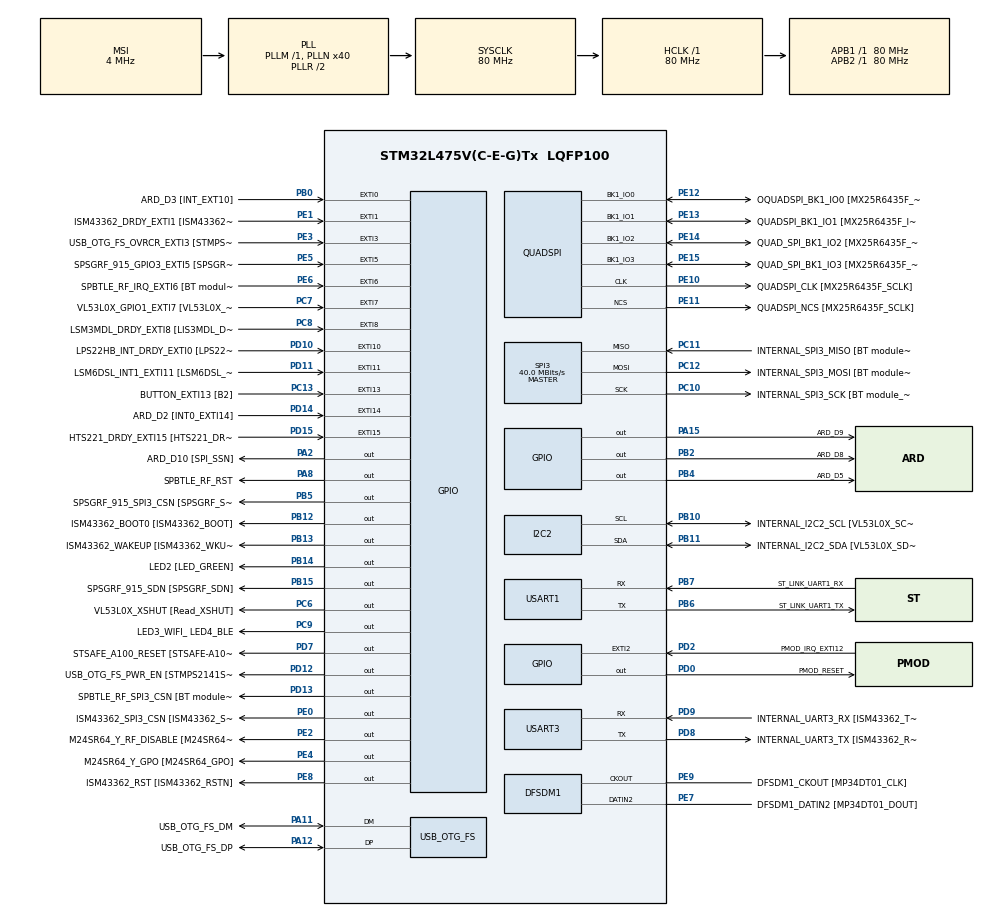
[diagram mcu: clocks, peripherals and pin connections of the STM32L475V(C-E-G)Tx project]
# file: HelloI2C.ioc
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PD12.GPIO_Label=USB_OTG_FS_PWR_EN [STMPS2141STR_EN]
SPI3.Direction=SPI_DIRECTION_2LINES
SPI3.VirtualType=VM_MASTER
QUADSPI.ClockPrescaler=2
PB10.Mode=I2C
PC12.Signal=SPI3_MOSI
PB14.GPIO_Label=LED2 [LED_GREEN]
PC6.GPIO_Label=VL53L0X_XSHUT [Read_XSHUT]
PA6.GPIO_Label=ARD_D12 [SPI1_MISO]
PB6.GPIO_Label=ST_LINK_UART1_TX
PA15\ (JTDI).Signal=GPIO_Output
PC15-OSC32_OUT\ (PC15).Mode=LSE-External-Oscillator
PB13.Signal=GPIO_Output
PD6.GPIO_Label=PMOD_UART2_RX
PE6.GPIO_Label=SPBTLE_RF_IRQ_EXTI6 [BT module_SPI_IRQ]
RCC.SYSCLKSource=RCC_SYSCLKSOURCE_PLLCLK
PC14-OSC32_IN\ (PC14).Mode=LSE-External-Oscillator
SH.ADCx_IN16.0=ADC1_IN16
USART3.VirtualMode-Asynchronous=VM_ASYNC
PA14\ (JTCK-SWCLK).Signal=SYS_JTCK-SWCLK
PD4.Signal=USART2_RTS
RCC.APB2TimFreq_Value=80000000
PB6.Signal=USART1_TX
PC7.Signal=GPXTI7
PB6.Mode=Asynchronous
PC3.Signal=ADCx_IN4
PD0.Signal=GPIO_Output
PD8.Signal=USART3_TX
PE5.Signal=GPXTI5
PE1.Signal=GPXTI1
QUADSPI.FlashSize=23
NVIC.EXTI15_10_IRQn=true\:0\:0\:false\:false\:true\:true\:true
PB2.Signal=GPIO_Output
PD1.GPIO_Label=PMOD_SPI2_SCK
PB12.GPIO_Label=ISM43362_BOOT0 [ISM43362_BOOT]
PC4.GPIO_Label=ARD_A1 [ADC]
PE9.Signal=S_CKOUTDFSDM1
PB1.GPIO_Label=ARD_D6 [ADC1_IN6]
PE4.GPIO_Label=M24SR64_Y_GPO [M24SR64_GPO]
PE2.Signal=GPIO_Output
PA8.Signal=GPIO_Output
PE13.Mode=Single Bank
PE10.Signal=QUADSPI_CLK
PA0.Signal=UART4_TX
Mcu.Package=LQFP100
PB9.Signal=I2C1_SDA
PB1.Signal=ADCx_IN16
SPI3.Mode=SPI_MODE_MASTER
SH.ADCx_IN14.0=ADC1_IN14
PD12.Signal=GPIO_Output
PA10.Signal=USB_OTG_FS_ID
PE12.GPIO_Label=OQUADSPI_BK1_IO0 [MX25R6435F_IO0]
PC11.Mode=Full_Duplex_Master
SH.ADCx_IN9.0=ADC1_IN9
RCC.APB1TimFreq_Value=80000000
PA13\ (JTMS-SWDIO).Signal=SYS_JTMS-SWDIO
PE10.GPIO_Label=QUADSPI_CLK [MX25R6435F_SCLK]
PA4.GPIO_Label=ARD_D7
PD15.Signal=GPXTI15
PE12.Mode=Single Bank
PD9.GPIO_Label=INTERNAL_UART3_RX [ISM43362_TX]
PA9.GPIO_Label=USB_OTG_FS_VBUS [STMPS2141STR_OUT]
PC13.Signal=GPXTI13
PD3.Signal=USART2_CTS
PC6.Signal=GPIO_Output
PE10.Mode=Single Bank
PC2.Signal=ADCx_IN3
PB11.GPIO_Label=INTERNAL_I2C2_SDA [VL53L0X_SDA]
PD7.Signal=GPIO_Output
PD1.Signal=SPI2_SCK
PA11.GPIO_Label=USB_OTG_FS_DM
PC0.Signal=ADCx_IN1
PD10.Signal=GPXTI10
PB8.GPIO_Label=ARD_D15 [I2C1_SCL]
PA8.GPIO_Label=SPBTLE_RF_RST
PB11.Mode=I2C
PE8.GPIO_Label=ISM43362_RST [ISM43362_RSTN]
PA9.Signal=USB_OTG_FS_VBUS
PE9.GPIO_Label=DFSDM1_CKOUT [MP34DT01_CLK]
PD8.Mode=Asynchronous
PB10.Signal=I2C2_SCL
PB14.Signal=GPIO_Output
PA5.Signal=SPI1_SCK
PC12.Mode=Full_Duplex_Master
PE1.GPIO_Label=ISM43362_DRDY_EXTI1 [ISM43362_DATARDY]
PE14.Signal=QUADSPI_BK1_IO2
PE15.Signal=QUADSPI_BK1_IO3
PB15.GPIO_Label=SPSGRF_915_SDN [SPSGRF_SDN]
PE8.Signal=GPIO_Output
PA1.GPIO_Label=ARD_D0 [UART4_RX]
SH.ADCx_IN4.0=ADC1_IN4
QUADSPI.FifoThreshold=4
PC7.GPIO_Label=VL53L0X_GPIO1_EXTI7 [VL53L0X_GPIO1]
PA13\ (JTMS-SWDIO).Mode=Serial_Wire
PA4.Signal=ADCx_IN9
PB5.Signal=GPIO_Output
PE13.GPIO_Label=QUADSPI_BK1_IO1 [MX25R6435F_IO1]
PA5.GPIO_Label=ARD_D13 [SPI1_SCK]
PD11.Signal=GPXTI11
PE5.GPIO_Label=SPSGRF_915_GPIO3_EXTI5 [SPSGRF_GPIO_3]
PC12.GPIO_Label=INTERNAL_SPI3_MOSI [BT module_SPI_MOSI] [ISM43362_MOSI]
PA11.Signal=USB_OTG_FS_DM
ProjectManager.HeapSize=0x200
NVIC.PriorityGroup=NVIC_PRIORITYGROUP_4
PE3.Signal=GPXTI3
PC3.GPIO_Label=ARD_A2 [ADC]
PB4\ (NJTRST).GPIO_Label=ARD_D5
PD2.Signal=GPXTI2
PB0.Signal=GPXTI0
PC1.Signal=ADCx_IN2
PD2.GPIO_Label=PMOD_IRQ_EXTI12
PE15.Mode=Single Bank
Mcu.Family=STM32L4
RCC.CortexFreq_Value=80000000
PE11.GPIO_Label=QUADSPI_NCS [MX25R6435F_SCLK]
SH.ADCx_IN2.0=ADC1_IN2
PC10.Signal=SPI3_SCK
PA0.GPIO_Label=ARD_D1 [UART4_TX]
PC0.GPIO_Label=ARD_A5 [ADC]
PD0.GPIO_Label=PMOD_RESET
PA11.Mode=Device_Only
PB0.GPIO_Label=ARD_D3 [INT_EXT10]
PC13.GPIO_Label=BUTTON_EXTI13 [B2]
PB13.GPIO_Label=ISM43362_WAKEUP [ISM43362_WKUP]
PB11.Signal=I2C2_SDA
PB15.Signal=GPIO_Output
PD9.Mode=Asynchronous
ProjectManager.StackSize=0x400
PB3\ (JTDO-TRACESWO).Signal=SYS_JTDO-SWO
PD13.Signal=GPIO_Output
PA12.Signal=USB_OTG_FS_DP
PE11.Mode=Single Bank
PD11.GPIO_Label=LSM6DSL_INT1_EXTI11 [LSM6DSL_INT1]
RCC.HCLKFreq_Value=80000000
SH.ADCx_IN3.0=ADC1_IN3
PB5.PinState=GPIO_PIN_SET
RCC.AHBFreq_Value=80000000
RCC.HSE_VALUE=8000000
PE13.Signal=QUADSPI_BK1_IO1
PC11.GPIO_Label=INTERNAL_SPI3_MISO [BT module_SPI_MISO] [ISM43362_MISO]
PA10.GPIO_Label=USB_OTG_FS_ID
PB7.Signal=USART1_RX
PE4.Signal=GPIO_Output
QUADSPI.SampleShifting=QSPI_SAMPLE_SHIFTING_HALFCYCLE
PD7.GPIO_Label=STSAFE_A100_RESET [STSAFE-A100_RESET]
PB7.GPIO_Label=ST_LINK_UART1_RX
PD13.GPIO_Label=SPBTLE_RF_SPI3_CSN [BT module_SPI_CS]
PA6.Signal=SPI1_MISO
PD5.GPIO_Label=PMOD_UART2_TX
PA2.GPIO_Label=ARD_D10 [SPI_SSN]
USB_OTG_FS.VirtualMode=Device_Only
PE0.GPIO_Label=ISM43362_SPI3_CSN [ISM43362_SSN]
SH.ADCx_IN1.0=ADC1_IN1
PB5.GPIO_Label=SPSGRF_915_SPI3_CSN [SPSGRF_SPI_CS]
PC5.Signal=ADCx_IN14
PD3.GPIO_Label=PMOD_UART2_CTS
PE7.Signal=S_DATAIN2DFSDM1
PD6.Signal=USART2_RX
PE2.GPIO_Label=M24SR64_Y_RF_DISABLE [M24SR64_RFDIS]
PC2.GPIO_Label=ARD_A3 [ADC]
RCC.PLLSAI1N=24
PA3.Signal=S_TIM2_CH4
RCC.MSI_VALUE=4000000
PA14\ (JTCK-SWCLK).Mode=Serial_Wire
SH.ADCx_IN13.0=ADC1_IN13
PD15.GPIO_Label=HTS221_DRDY_EXTI15 [HTS221_DRDY]
PB9.GPIO_Label=ARD_D14 [I2C1_SDA]
PC10.GPIO_Label=INTERNAL_SPI3_SCK [BT module_SPI_SCLK] [ISM43362_SCK]
PC9.GPIO_Label=LED3_WIFI_ LED4_BLE
PC11.Signal=SPI3_MISO
PC8.Signal=GPXTI8
PC4.Signal=ADCx_IN13
PC10.Mode=Full_Duplex_Master
SH.S_DATAIN2DFSDM1.0=DFSDM1_DATIN2,PDM_SPI_Input_from_ch12_and_Internal_Clock
PE14.GPIO_Label=QUAD_SPI_BK1_IO2 [MX25R6435F_IO2]
PC15-OSC32_OUT\ (PC15).Signal=RCC_OSC32_OUT
PD9.Signal=USART3_RX
PD5.Signal=USART2_TX
PA14\ (JTCK-SWCLK).GPIO_Label=SYS_JTCK_SWCLK
PB3\ (JTDO-TRACESWO).GPIO_Label=SYS_JTD0_SWO
PA12.GPIO_Label=USB_OTG_FS_DP
PD8.GPIO_Label=INTERNAL_UART3_TX [ISM43362_RX]
PC8.GPIO_Label=LSM3MDL_DRDY_EXTI8 [LIS3MDL_DRDY]
USART1.VirtualMode-Asynchronous=VM_ASYNC
PE0.PinState=GPIO_PIN_SET
PE15.GPIO_Label=QUAD_SPI_BK1_IO3 [MX25R6435F_IO3]
ProjectManager.TargetToolchain=STM32CubeIDE
PB10.GPIO_Label=INTERNAL_I2C2_SCL [VL53L0X_SCL]
RCC.USBFreq_Value=48000000
PD10.GPIO_Label=LPS22HB_INT_DRDY_EXTI0 [LPS22HB_INT_DRDY] 
PE11.Signal=QUADSPI_NCS
PA1.Signal=UART4_RX
board=B-L475E-IOT01A1
RCC.VCOOutputFreq_Value=160000000
RCC.APB2Freq_Value=80000000
SPI3.CalculateBaudRate=40.0 MBits/s
PA13\ (JTMS-SWDIO).GPIO_Label=SYS_JTMS_SWDIO
PD4.GPIO_Label=PMOD_UART2_RTS
PE14.Mode=Single Bank
SH.S_CKOUTDFSDM1.0=DFSDM1_CKOUT,CKOUT
SH.S_CKOUTDFSDM1.1=DFSDM1_CKOUT,PDM_SPI_Input_from_ch12_and_Internal_Clock
RCC.ADCFreq_Value=48000000
PC1.GPIO_Label=ARD_A4 [ADC]
PD14.GPIO_Label=ARD_D2 [INT0_EXTI14]
PE6.Signal=GPXTI6
PA15\ (JTDI).GPIO_Label=ARD_D9
Mcu.Name=STM32L475V(C-E-G)Tx
PE0.Signal=GPIO_Output
PE7.GPIO_Label=DFSDM1_DATIN2 [MP34DT01_DOUT]
PE12.Signal=QUADSPI_BK1_IO0
PA2.Signal=GPIO_Output
PD14.Signal=GPXTI14
RCC.SYSCLKFreq_VALUE=80000000
PA7.GPIO_Label=ARD_D11 [SPI1_MOSI]
PA12.Mode=Device_Only
PC13.GPIO_ModeDefaultEXTI=GPIO_MODE_IT_FALLING
PC5.GPIO_Label=ARD_A0 [ADC]
PC14-OSC32_IN\ (PC14).Signal=RCC_OSC32_IN
PB7.Mode=Asynchronous
NVIC.EXTI9_5_IRQn=true\:0\:0\:false\:false\:true\:true\:true
PB2.GPIO_Label=ARD_D8
SH.S_TIM2_CH4.0=TIM2_CH4
RCC.HSI_VALUE=16000000
RCC.PLLN=40
PB8.Signal=I2C1_SCL
PE3.GPIO_Label=USB_OTG_FS_OVRCR_EXTI3 [STMPS2141STR_FAULT]
PC9.Signal=GPIO_Output
PD13.PinState=GPIO_PIN_SET
RCC.APB1Freq_Value=80000000
PB12.Signal=GPIO_Output
PA3.GPIO_Label=ARD_D4
PA7.Signal=SPI1_MOSI
PB4\ (NJTRST).Signal=GPIO_Output

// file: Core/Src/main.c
/* USER CODE BEGIN Header */
/**
  ******************************************************************************
  * @file           : main.c
  * @brief          : Main program body
  ******************************************************************************
  * @attention
  *
  * <h2><center>&copy; Copyright (c) 2021 STMicroelectronics.
  * All rights reserved.</center></h2>
  *
  * This software component is licensed by ST under BSD 3-Clause license,
  * the "License"; You may not use this file except in compliance with the
  * License. You may obtain a copy of the License at:
  *                        opensource.org/licenses/BSD-3-Clause
  *
  ******************************************************************************
  */
/* USER CODE END Header */
#include "main.h"

/* USER CODE BEGIN Includes */
#include "stm32l475e_iot01_hsensor.h"
#include "stm32l475e_iot01_tsensor.h"
#include "stm32l475e_iot01_psensor.h"
/* USER CODE END Includes */

DFSDM_Channel_HandleTypeDef hdfsdm1_channel1;

I2C_HandleTypeDef hi2c2;

QSPI_HandleTypeDef hqspi;

SPI_HandleTypeDef hspi3;

UART_HandleTypeDef huart1;
UART_HandleTypeDef huart3;

PCD_HandleTypeDef hpcd_USB_OTG_FS;

void SystemClock_Config(void);
static void MX_GPIO_Init(void);
static void MX_DFSDM1_Init(void);
static void MX_I2C2_Init(void);
static void MX_QUADSPI_Init(void);
static void MX_SPI3_Init(void);
static void MX_USART1_UART_Init(void);
static void MX_USART3_UART_Init(void);
static void MX_USB_OTG_FS_PCD_Init(void);

int main(void)
{

  /* MCU Configuration--------------------------------------------------------*/

  /* Reset of all peripherals, Initializes the Flash interface and the Systick. */
  HAL_Init();

  /* Configure the system clock */
  SystemClock_Config();

  /* Initialize all configured peripherals */
  MX_GPIO_Init();
  MX_DFSDM1_Init();
  MX_I2C2_Init();
  MX_QUADSPI_Init();
  MX_SPI3_Init();
  MX_USART1_UART_Init();
  MX_USART3_UART_Init();
  MX_USB_OTG_FS_PCD_Init();

  /* Infinite loop */
  /* USER CODE BEGIN WHILE */

  BSP_TSENSOR_Init();
  BSP_HSENSOR_Init();
  BSP_PSENSOR_Init();

  uint8_t LPS22HB_READ = 0xbb;
  uint8_t LPS22HB_WRITE = 0xba;

  char msg[30] = "Reading Pressure Sensor\n";
  HAL_UART_Transmit(&huart1, (uint8_t *) msg, sizeof(msg), HAL_MAX_DELAY);

  while (1)
  {
	  uint8_t STATUS_ADDR = 0x27;
	  uint8_t STATUS_VALUE = 0;

	  HAL_I2C_Master_Transmit(&hi2c2, LPS22HB_WRITE, &STATUS_ADDR, 1, HAL_MAX_DELAY);
	  HAL_I2C_Master_Receive(&hi2c2, LPS22HB_READ, &STATUS_VALUE, 3, HAL_MAX_DELAY);

	  HAL_Delay(1000);

	  // pressure sensor output buffer parts addresses
	  uint8_t PRESS_LSB_ADDR = 0x28;
	  uint8_t PRESS_MID_ADDR = 0x29;
	  uint8_t PRESS_MSB_ADDR = 0x2A;

	  // pressure sensor output values
	  uint8_t PRESS_LSB_VAL = 0;
	  uint8_t PRESS_MID_VAL = 0;
	  uint8_t PRESS_MSB_VAL = 0;

	  // get the least significant bit
	  HAL_I2C_Master_Transmit(&hi2c2, LPS22HB_WRITE, &PRESS_LSB_ADDR, 1, HAL_MAX_DELAY);
	  HAL_I2C_Master_Receive(&hi2c2, LPS22HB_READ, &PRESS_LSB_VAL, 1, HAL_MAX_DELAY);

	  // get the middle bits
	  HAL_I2C_Master_Transmit(&hi2c2, LPS22HB_WRITE, &PRESS_MID_ADDR, 1, HAL_MAX_DELAY);
	  HAL_I2C_Master_Receive(&hi2c2, LPS22HB_READ, &PRESS_MID_VAL, 1, HAL_MAX_DELAY);

	  // get the most significant bit
	  HAL_I2C_Master_Transmit(&hi2c2, LPS22HB_WRITE, &PRESS_MSB_ADDR, 1, HAL_MAX_DELAY);
	  HAL_I2C_Master_Receive(&hi2c2, LPS22HB_READ, &PRESS_MSB_VAL, 1, HAL_MAX_DELAY);

	  uint32_t rawPressure = PRESS_LSB_VAL;
	  rawPressure = rawPressure | (PRESS_MID_VAL << 8);
	  rawPressure = rawPressure | (PRESS_MSB_VAL << 16);

	  uint32_t pressure = rawPressure / 4096;

	  char pressureBuff[30];
	  sprintf(pressureBuff, "Pressure reading is: %d\n", pressure);

	  HAL_UART_Transmit(&huart1, (uint8_t *) &pressureBuff, sizeof(pressureBuff), HAL_MAX_DELAY);

	  HAL_Delay(5000);

    /* USER CODE END WHILE */

  }
}

void SystemClock_Config(void)
{
  RCC_OscInitTypeDef RCC_OscInitStruct = {0};
  RCC_ClkInitTypeDef RCC_ClkInitStruct = {0};
  RCC_PeriphCLKInitTypeDef PeriphClkInit = {0};

  /** Configure LSE Drive Capability
  */
  HAL_PWR_EnableBkUpAccess();
  __HAL_RCC_LSEDRIVE_CONFIG(RCC_LSEDRIVE_LOW);
  /** Initializes the RCC Oscillators according to the specified parameters
  * in the RCC_OscInitTypeDef structure.
  */
  RCC_OscInitStruct.OscillatorType = RCC_OSCILLATORTYPE_LSE|RCC_OSCILLATORTYPE_MSI;
  RCC_OscInitStruct.LSEState = RCC_LSE_ON;
  RCC_OscInitStruct.MSIState = RCC_MSI_ON;
  RCC_OscInitStruct.MSICalibrationValue = 0;
  RCC_OscInitStruct.MSIClockRange = RCC_MSIRANGE_6;
  RCC_OscInitStruct.PLL.PLLState = RCC_PLL_ON;
  RCC_OscInitStruct.PLL.PLLSource = RCC_PLLSOURCE_MSI;
  RCC_OscInitStruct.PLL.PLLM = 1;
  RCC_OscInitStruct.PLL.PLLN = 40;
  RCC_OscInitStruct.PLL.PLLP = RCC_PLLP_DIV7;
  RCC_OscInitStruct.PLL.PLLQ = RCC_PLLQ_DIV2;
  RCC_OscInitStruct.PLL.PLLR = RCC_PLLR_DIV2;
  if (HAL_RCC_OscConfig(&RCC_OscInitStruct) != HAL_OK)
  {
    Error_Handler();
  }
  /** Initializes the CPU, AHB and APB buses clocks
  */
  RCC_ClkInitStruct.ClockType = RCC_CLOCKTYPE_HCLK|RCC_CLOCKTYPE_SYSCLK
                              |RCC_CLOCKTYPE_PCLK1|RCC_CLOCKTYPE_PCLK2;
  RCC_ClkInitStruct.SYSCLKSource = RCC_SYSCLKSOURCE_PLLCLK;
  RCC_ClkInitStruct.AHBCLKDivider = RCC_SYSCLK_DIV1;
  RCC_ClkInitStruct.APB1CLKDivider = RCC_HCLK_DIV1;
  RCC_ClkInitStruct.APB2CLKDivider = RCC_HCLK_DIV1;

  if (HAL_RCC_ClockConfig(&RCC_ClkInitStruct, FLASH_LATENCY_4) != HAL_OK)
  {
    Error_Handler();
  }
  PeriphClkInit.PeriphClockSelection = RCC_PERIPHCLK_USART1|RCC_PERIPHCLK_USART3
                              |RCC_PERIPHCLK_I2C2|RCC_PERIPHCLK_DFSDM1
                              |RCC_PERIPHCLK_USB;
  PeriphClkInit.Usart1ClockSelection = RCC_USART1CLKSOURCE_PCLK2;
  PeriphClkInit.Usart3ClockSelection = RCC_USART3CLKSOURCE_PCLK1;
  PeriphClkInit.I2c2ClockSelection = RCC_I2C2CLKSOURCE_PCLK1;
  PeriphClkInit.Dfsdm1ClockSelection = RCC_DFSDM1CLKSOURCE_PCLK;
  PeriphClkInit.UsbClockSelection = RCC_USBCLKSOURCE_PLLSAI1;
  PeriphClkInit.PLLSAI1.PLLSAI1Source = RCC_PLLSOURCE_MSI;
  PeriphClkInit.PLLSAI1.PLLSAI1M = 1;
  PeriphClkInit.PLLSAI1.PLLSAI1N = 24;
  PeriphClkInit.PLLSAI1.PLLSAI1P = RCC_PLLP_DIV7;
  PeriphClkInit.PLLSAI1.PLLSAI1Q = RCC_PLLQ_DIV2;
  PeriphClkInit.PLLSAI1.PLLSAI1R = RCC_PLLR_DIV2;
  PeriphClkInit.PLLSAI1.PLLSAI1ClockOut = RCC_PLLSAI1_48M2CLK;
  if (HAL_RCCEx_PeriphCLKConfig(&PeriphClkInit) != HAL_OK)
  {
    Error_Handler();
  }
  /** Configure the main internal regulator output voltage
  */
  if (HAL_PWREx_ControlVoltageScaling(PWR_REGULATOR_VOLTAGE_SCALE1) != HAL_OK)
  {
    Error_Handler();
  }
  /** Enable MSI Auto calibration
  */
  HAL_RCCEx_EnableMSIPLLMode();
}

static void MX_DFSDM1_Init(void)
{

  hdfsdm1_channel1.Instance = DFSDM1_Channel1;
  hdfsdm1_channel1.Init.OutputClock.Activation = ENABLE;
  hdfsdm1_channel1.Init.OutputClock.Selection = DFSDM_CHANNEL_OUTPUT_CLOCK_SYSTEM;
  hdfsdm1_channel1.Init.OutputClock.Divider = 2;
  hdfsdm1_channel1.Init.Input.Multiplexer = DFSDM_CHANNEL_EXTERNAL_INPUTS;
  hdfsdm1_channel1.Init.Input.DataPacking = DFSDM_CHANNEL_STANDARD_MODE;
  hdfsdm1_channel1.Init.Input.Pins = DFSDM_CHANNEL_FOLLOWING_CHANNEL_PINS;
  hdfsdm1_channel1.Init.SerialInterface.Type = DFSDM_CHANNEL_SPI_RISING;
  hdfsdm1_channel1.Init.SerialInterface.SpiClock = DFSDM_CHANNEL_SPI_CLOCK_INTERNAL;
  hdfsdm1_channel1.Init.Awd.FilterOrder = DFSDM_CHANNEL_FASTSINC_ORDER;
  hdfsdm1_channel1.Init.Awd.Oversampling = 1;
  hdfsdm1_channel1.Init.Offset = 0;
  hdfsdm1_channel1.Init.RightBitShift = 0x00;
  if (HAL_DFSDM_ChannelInit(&hdfsdm1_channel1) != HAL_OK)
  {
    Error_Handler();
  }

}

static void MX_I2C2_Init(void)
{

  hi2c2.Instance = I2C2;
  hi2c2.Init.Timing = 0x00000E14;
  hi2c2.Init.OwnAddress1 = 0;
  hi2c2.Init.AddressingMode = I2C_ADDRESSINGMODE_7BIT;
  hi2c2.Init.DualAddressMode = I2C_DUALADDRESS_DISABLE;
  hi2c2.Init.OwnAddress2 = 0;
  hi2c2.Init.OwnAddress2Masks = I2C_OA2_NOMASK;
  hi2c2.Init.GeneralCallMode = I2C_GENERALCALL_DISABLE;
  hi2c2.Init.NoStretchMode = I2C_NOSTRETCH_DISABLE;
  if (HAL_I2C_Init(&hi2c2) != HAL_OK)
  {
    Error_Handler();
  }
  /** Configure Analogue filter
  */
  if (HAL_I2CEx_ConfigAnalogFilter(&hi2c2, I2C_ANALOGFILTER_ENABLE) != HAL_OK)
  {
    Error_Handler();
  }
  /** Configure Digital filter
  */
  if (HAL_I2CEx_ConfigDigitalFilter(&hi2c2, 0) != HAL_OK)
  {
    Error_Handler();
  }

}

static void MX_QUADSPI_Init(void)
{

  /* QUADSPI parameter configuration*/
  hqspi.Instance = QUADSPI;
  hqspi.Init.ClockPrescaler = 2;
  hqspi.Init.FifoThreshold = 4;
  hqspi.Init.SampleShifting = QSPI_SAMPLE_SHIFTING_HALFCYCLE;
  hqspi.Init.FlashSize = 23;
  hqspi.Init.ChipSelectHighTime = QSPI_CS_HIGH_TIME_1_CYCLE;
  hqspi.Init.ClockMode = QSPI_CLOCK_MODE_0;
  if (HAL_QSPI_Init(&hqspi) != HAL_OK)
  {
    Error_Handler();
  }

}

static void MX_SPI3_Init(void)
{

  /* SPI3 parameter configuration*/
  hspi3.Instance = SPI3;
  hspi3.Init.Mode = SPI_MODE_MASTER;
  hspi3.Init.Direction = SPI_DIRECTION_2LINES;
  hspi3.Init.DataSize = SPI_DATASIZE_4BIT;
  hspi3.Init.CLKPolarity = SPI_POLARITY_LOW;
  hspi3.Init.CLKPhase = SPI_PHASE_1EDGE;
  hspi3.Init.NSS = SPI_NSS_SOFT;
  hspi3.Init.BaudRatePrescaler = SPI_BAUDRATEPRESCALER_2;
  hspi3.Init.FirstBit = SPI_FIRSTBIT_MSB;
  hspi3.Init.TIMode = SPI_TIMODE_DISABLE;
  hspi3.Init.CRCCalculation = SPI_CRCCALCULATION_DISABLE;
  hspi3.Init.CRCPolynomial = 7;
  hspi3.Init.CRCLength = SPI_CRC_LENGTH_DATASIZE;
  hspi3.Init.NSSPMode = SPI_NSS_PULSE_ENABLE;
  if (HAL_SPI_Init(&hspi3) != HAL_OK)
  {
    Error_Handler();
  }

}

static void MX_USART1_UART_Init(void)
{

  huart1.Instance = USART1;
  huart1.Init.BaudRate = 115200;
  huart1.Init.WordLength = UART_WORDLENGTH_8B;
  huart1.Init.StopBits = UART_STOPBITS_1;
  huart1.Init.Parity = UART_PARITY_NONE;
  huart1.Init.Mode = UART_MODE_TX_RX;
  huart1.Init.HwFlowCtl = UART_HWCONTROL_NONE;
  huart1.Init.OverSampling = UART_OVERSAMPLING_16;
  huart1.Init.OneBitSampling = UART_ONE_BIT_SAMPLE_DISABLE;
  huart1.AdvancedInit.AdvFeatureInit = UART_ADVFEATURE_NO_INIT;
  if (HAL_UART_Init(&huart1) != HAL_OK)
  {
    Error_Handler();
  }

}

static void MX_USART3_UART_Init(void)
{

  huart3.Instance = USART3;
  huart3.Init.BaudRate = 115200;
  huart3.Init.WordLength = UART_WORDLENGTH_8B;
  huart3.Init.StopBits = UART_STOPBITS_1;
  huart3.Init.Parity = UART_PARITY_NONE;
  huart3.Init.Mode = UART_MODE_TX_RX;
  huart3.Init.HwFlowCtl = UART_HWCONTROL_NONE;
  huart3.Init.OverSampling = UART_OVERSAMPLING_16;
  huart3.Init.OneBitSampling = UART_ONE_BIT_SAMPLE_DISABLE;
  huart3.AdvancedInit.AdvFeatureInit = UART_ADVFEATURE_NO_INIT;
  if (HAL_UART_Init(&huart3) != HAL_OK)
  {
    Error_Handler();
  }

}

static void MX_USB_OTG_FS_PCD_Init(void)
{

  hpcd_USB_OTG_FS.Instance = USB_OTG_FS;
  hpcd_USB_OTG_FS.Init.dev_endpoints = 6;
  hpcd_USB_OTG_FS.Init.speed = PCD_SPEED_FULL;
  hpcd_USB_OTG_FS.Init.phy_itface = PCD_PHY_EMBEDDED;
  hpcd_USB_OTG_FS.Init.Sof_enable = DISABLE;
  hpcd_USB_OTG_FS.Init.low_power_enable = DISABLE;
  hpcd_USB_OTG_FS.Init.lpm_enable = DISABLE;
  hpcd_USB_OTG_FS.Init.battery_charging_enable = DISABLE;
  hpcd_USB_OTG_FS.Init.use_dedicated_ep1 = DISABLE;
  hpcd_USB_OTG_FS.Init.vbus_sensing_enable = DISABLE;
  if (HAL_PCD_Init(&hpcd_USB_OTG_FS) != HAL_OK)
  {
    Error_Handler();
  }

}

static void MX_GPIO_Init(void)
{
  GPIO_InitTypeDef GPIO_InitStruct = {0};

  /* GPIO Ports Clock Enable */
  __HAL_RCC_GPIOE_CLK_ENABLE();
  __HAL_RCC_GPIOC_CLK_ENABLE();
  __HAL_RCC_GPIOA_CLK_ENABLE();
  __HAL_RCC_GPIOB_CLK_ENABLE();
  __HAL_RCC_GPIOD_CLK_ENABLE();

  /*Configure GPIO pin Output Level */
  HAL_GPIO_WritePin(GPIOE, M24SR64_Y_RF_DISABLE_Pin|M24SR64_Y_GPO_Pin|ISM43362_RST_Pin, GPIO_PIN_RESET);

  /*Configure GPIO pin Output Level */
  HAL_GPIO_WritePin(GPIOA, ARD_D10_Pin|SPBTLE_RF_RST_Pin|ARD_D9_Pin, GPIO_PIN_RESET);

  /*Configure GPIO pin Output Level */
  HAL_GPIO_WritePin(GPIOB, ARD_D8_Pin|ISM43362_BOOT0_Pin|ISM43362_WAKEUP_Pin|LED2_Pin
                          |SPSGRF_915_SDN_Pin|ARD_D5_Pin, GPIO_PIN_RESET);

  /*Configure GPIO pin Output Level */
  HAL_GPIO_WritePin(GPIOD, USB_OTG_FS_PWR_EN_Pin|PMOD_RESET_Pin|STSAFE_A100_RESET_Pin, GPIO_PIN_RESET);

  /*Configure GPIO pin Output Level */
  HAL_GPIO_WritePin(SPBTLE_RF_SPI3_CSN_GPIO_Port, SPBTLE_RF_SPI3_CSN_Pin, GPIO_PIN_SET);

  /*Configure GPIO pin Output Level */
  HAL_GPIO_WritePin(GPIOC, VL53L0X_XSHUT_Pin|LED3_WIFI__LED4_BLE_Pin, GPIO_PIN_RESET);

  /*Configure GPIO pin Output Level */
  HAL_GPIO_WritePin(SPSGRF_915_SPI3_CSN_GPIO_Port, SPSGRF_915_SPI3_CSN_Pin, GPIO_PIN_SET);

  /*Configure GPIO pin Output Level */
  HAL_GPIO_WritePin(ISM43362_SPI3_CSN_GPIO_Port, ISM43362_SPI3_CSN_Pin, GPIO_PIN_SET);

  /*Configure GPIO pins : M24SR64_Y_RF_DISABLE_Pin M24SR64_Y_GPO_Pin ISM43362_RST_Pin ISM43362_SPI3_CSN_Pin */
  GPIO_InitStruct.Pin = M24SR64_Y_RF_DISABLE_Pin|M24SR64_Y_GPO_Pin|ISM43362_RST_Pin|ISM43362_SPI3_CSN_Pin;
  GPIO_InitStruct.Mode = GPIO_MODE_OUTPUT_PP;
  GPIO_InitStruct.Pull = GPIO_NOPULL;
  GPIO_InitStruct.Speed = GPIO_SPEED_FREQ_LOW;
  HAL_GPIO_Init(GPIOE, &GPIO_InitStruct);

  /*Configure GPIO pins : USB_OTG_FS_OVRCR_EXTI3_Pin SPSGRF_915_GPIO3_EXTI5_Pin SPBTLE_RF_IRQ_EXTI6_Pin ISM43362_DRDY_EXTI1_Pin */
  GPIO_InitStruct.Pin = USB_OTG_FS_OVRCR_EXTI3_Pin|SPSGRF_915_GPIO3_EXTI5_Pin|SPBTLE_RF_IRQ_EXTI6_Pin|ISM43362_DRDY_EXTI1_Pin;
  GPIO_InitStruct.Mode = GPIO_MODE_IT_RISING;
  GPIO_InitStruct.Pull = GPIO_NOPULL;
  HAL_GPIO_Init(GPIOE, &GPIO_InitStruct);

  /*Configure GPIO pin : BUTTON_EXTI13_Pin */
  GPIO_InitStruct.Pin = BUTTON_EXTI13_Pin;
  GPIO_InitStruct.Mode = GPIO_MODE_IT_FALLING;
  GPIO_InitStruct.Pull = GPIO_NOPULL;
  HAL_GPIO_Init(BUTTON_EXTI13_GPIO_Port, &GPIO_InitStruct);

  /*Configure GPIO pins : ARD_A5_Pin ARD_A4_Pin ARD_A3_Pin ARD_A2_Pin
                           ARD_A1_Pin ARD_A0_Pin */
  GPIO_InitStruct.Pin = ARD_A5_Pin|ARD_A4_Pin|ARD_A3_Pin|ARD_A2_Pin
                          |ARD_A1_Pin|ARD_A0_Pin;
  GPIO_InitStruct.Mode = GPIO_MODE_ANALOG_ADC_CONTROL;
  GPIO_InitStruct.Pull = GPIO_NOPULL;
  HAL_GPIO_Init(GPIOC, &GPIO_InitStruct);

  /*Configure GPIO pins : ARD_D1_Pin ARD_D0_Pin */
  GPIO_InitStruct.Pin = ARD_D1_Pin|ARD_D0_Pin;
  GPIO_InitStruct.Mode = GPIO_MODE_AF_PP;
  GPIO_InitStruct.Pull = GPIO_NOPULL;
  GPIO_InitStruct.Speed = GPIO_SPEED_FREQ_VERY_HIGH;
  GPIO_InitStruct.Alternate = GPIO_AF8_UART4;
  HAL_GPIO_Init(GPIOA, &GPIO_InitStruct);

  /*Configure GPIO pins : ARD_D10_Pin SPBTLE_RF_RST_Pin ARD_D9_Pin */
  GPIO_InitStruct.Pin = ARD_D10_Pin|SPBTLE_RF_RST_Pin|ARD_D9_Pin;
  GPIO_InitStruct.Mode = GPIO_MODE_OUTPUT_PP;
  GPIO_InitStruct.Pull = GPIO_NOPULL;
  GPIO_InitStruct.Speed = GPIO_SPEED_FREQ_LOW;
  HAL_GPIO_Init(GPIOA, &GPIO_InitStruct);

  /*Configure GPIO pin : ARD_D4_Pin */
  GPIO_InitStruct.Pin = ARD_D4_Pin;
  GPIO_InitStruct.Mode = GPIO_MODE_AF_PP;
  GPIO_InitStruct.Pull = GPIO_NOPULL;
  GPIO_InitStruct.Speed = GPIO_SPEED_FREQ_LOW;
  GPIO_InitStruct.Alternate = GPIO_AF1_TIM2;
  HAL_GPIO_Init(ARD_D4_GPIO_Port, &GPIO_InitStruct);

  /*Configure GPIO pin : ARD_D7_Pin */
  GPIO_InitStruct.Pin = ARD_D7_Pin;
  GPIO_InitStruct.Mode = GPIO_MODE_ANALOG_ADC_CONTROL;
  GPIO_InitStruct.Pull = GPIO_NOPULL;
  HAL_GPIO_Init(ARD_D7_GPIO_Port, &GPIO_InitStruct);

  /*Configure GPIO pins : ARD_D13_Pin ARD_D12_Pin ARD_D11_Pin */
  GPIO_InitStruct.Pin = ARD_D13_Pin|ARD_D12_Pin|ARD_D11_Pin;
  GPIO_InitStruct.Mode = GPIO_MODE_AF_PP;
  GPIO_InitStruct.Pull = GPIO_NOPULL;
  GPIO_InitStruct.Speed = GPIO_SPEED_FREQ_VERY_HIGH;
  GPIO_InitStruct.Alternate = GPIO_AF5_SPI1;
  HAL_GPIO_Init(GPIOA, &GPIO_InitStruct);

  /*Configure GPIO pin : ARD_D3_Pin */
  GPIO_InitStruct.Pin = ARD_D3_Pin;
  GPIO_InitStruct.Mode = GPIO_MODE_IT_RISING;
  GPIO_InitStruct.Pull = GPIO_NOPULL;
  HAL_GPIO_Init(ARD_D3_GPIO_Port, &GPIO_InitStruct);

  /*Configure GPIO pin : ARD_D6_Pin */
  GPIO_InitStruct.Pin = ARD_D6_Pin;
  GPIO_InitStruct.Mode = GPIO_MODE_ANALOG_ADC_CONTROL;
  GPIO_InitStruct.Pull = GPIO_NOPULL;
  HAL_GPIO_Init(ARD_D6_GPIO_Port, &GPIO_InitStruct);

  /*Configure GPIO pins : ARD_D8_Pin ISM43362_BOOT0_Pin ISM43362_WAKEUP_Pin LED2_Pin
                           SPSGRF_915_SDN_Pin ARD_D5_Pin SPSGRF_915_SPI3_CSN_Pin */
  GPIO_InitStruct.Pin = ARD_D8_Pin|ISM43362_BOOT0_Pin|ISM43362_WAKEUP_Pin|LED2_Pin
                          |SPSGRF_915_SDN_Pin|ARD_D5_Pin|SPSGRF_915_SPI3_CSN_Pin;
  GPIO_InitStruct.Mode = GPIO_MODE_OUTPUT_PP;
  GPIO_InitStruct.Pull = GPIO_NOPULL;
  GPIO_InitStruct.Speed = GPIO_SPEED_FREQ_LOW;
  HAL_GPIO_Init(GPIOB, &GPIO_InitStruct);

  /*Configure GPIO pins : LPS22HB_INT_DRDY_EXTI0_Pin LSM6DSL_INT1_EXTI11_Pin ARD_D2_Pin HTS221_DRDY_EXTI15_Pin
                           PMOD_IRQ_EXTI12_Pin */
  GPIO_InitStruct.Pin = LPS22HB_INT_DRDY_EXTI0_Pin|LSM6DSL_INT1_EXTI11_Pin|ARD_D2_Pin|HTS221_DRDY_EXTI15_Pin
                          |PMOD_IRQ_EXTI12_Pin;
  GPIO_InitStruct.Mode = GPIO_MODE_IT_RISING;
  GPIO_InitStruct.Pull = GPIO_NOPULL;
  HAL_GPIO_Init(GPIOD, &GPIO_InitStruct);

  /*Configure GPIO pins : USB_OTG_FS_PWR_EN_Pin SPBTLE_RF_SPI3_CSN_Pin PMOD_RESET_Pin STSAFE_A100_RESET_Pin */
  GPIO_InitStruct.Pin = USB_OTG_FS_PWR_EN_Pin|SPBTLE_RF_SPI3_CSN_Pin|PMOD_RESET_Pin|STSAFE_A100_RESET_Pin;
  GPIO_InitStruct.Mode = GPIO_MODE_OUTPUT_PP;
  GPIO_InitStruct.Pull = GPIO_NOPULL;
  GPIO_InitStruct.Speed = GPIO_SPEED_FREQ_LOW;
  HAL_GPIO_Init(GPIOD, &GPIO_InitStruct);

  /*Configure GPIO pins : VL53L0X_XSHUT_Pin LED3_WIFI__LED4_BLE_Pin */
  GPIO_InitStruct.Pin = VL53L0X_XSHUT_Pin|LED3_WIFI__LED4_BLE_Pin;
  GPIO_InitStruct.Mode = GPIO_MODE_OUTPUT_PP;
  GPIO_InitStruct.Pull = GPIO_NOPULL;
  GPIO_InitStruct.Speed = GPIO_SPEED_FREQ_LOW;
  HAL_GPIO_Init(GPIOC, &GPIO_InitStruct);

  /*Configure GPIO pins : VL53L0X_GPIO1_EXTI7_Pin LSM3MDL_DRDY_EXTI8_Pin */
  GPIO_InitStruct.Pin = VL53L0X_GPIO1_EXTI7_Pin|LSM3MDL_DRDY_EXTI8_Pin;
  GPIO_InitStruct.Mode = GPIO_MODE_IT_RISING;
  GPIO_InitStruct.Pull = GPIO_NOPULL;
  HAL_GPIO_Init(GPIOC, &GPIO_InitStruct);

  /*Configure GPIO pin : PMOD_SPI2_SCK_Pin */
  GPIO_InitStruct.Pin = PMOD_SPI2_SCK_Pin;
  GPIO_InitStruct.Mode = GPIO_MODE_AF_PP;
  GPIO_InitStruct.Pull = GPIO_NOPULL;
  GPIO_InitStruct.Speed = GPIO_SPEED_FREQ_VERY_HIGH;
  GPIO_InitStruct.Alternate = GPIO_AF5_SPI2;
  HAL_GPIO_Init(PMOD_SPI2_SCK_GPIO_Port, &GPIO_InitStruct);

  /*Configure GPIO pins : PMOD_UART2_CTS_Pin PMOD_UART2_RTS_Pin PMOD_UART2_TX_Pin PMOD_UART2_RX_Pin */
  GPIO_InitStruct.Pin = PMOD_UART2_CTS_Pin|PMOD_UART2_RTS_Pin|PMOD_UART2_TX_Pin|PMOD_UART2_RX_Pin;
  GPIO_InitStruct.Mode = GPIO_MODE_AF_PP;
  GPIO_InitStruct.Pull = GPIO_NOPULL;
  GPIO_InitStruct.Speed = GPIO_SPEED_FREQ_VERY_HIGH;
  GPIO_InitStruct.Alternate = GPIO_AF7_USART2;
  HAL_GPIO_Init(GPIOD, &GPIO_InitStruct);

  /*Configure GPIO pins : ARD_D15_Pin ARD_D14_Pin */
  GPIO_InitStruct.Pin = ARD_D15_Pin|ARD_D14_Pin;
  GPIO_InitStruct.Mode = GPIO_MODE_AF_OD;
  GPIO_InitStruct.Pull = GPIO_PULLUP;
  GPIO_InitStruct.Speed = GPIO_SPEED_FREQ_VERY_HIGH;
  GPIO_InitStruct.Alternate = GPIO_AF4_I2C1;
  HAL_GPIO_Init(GPIOB, &GPIO_InitStruct);

  /* EXTI interrupt init*/
  HAL_NVIC_SetPriority(EXTI9_5_IRQn, 0, 0);
  HAL_NVIC_EnableIRQ(EXTI9_5_IRQn);

  HAL_NVIC_SetPriority(EXTI15_10_IRQn, 0, 0);
  HAL_NVIC_EnableIRQ(EXTI15_10_IRQn);

}

void Error_Handler(void)
{
  __disable_irq();
  while (1)
  {
  }
}

/************************ (C) COPYRIGHT STMicroelectronics *****END OF FILE****/
